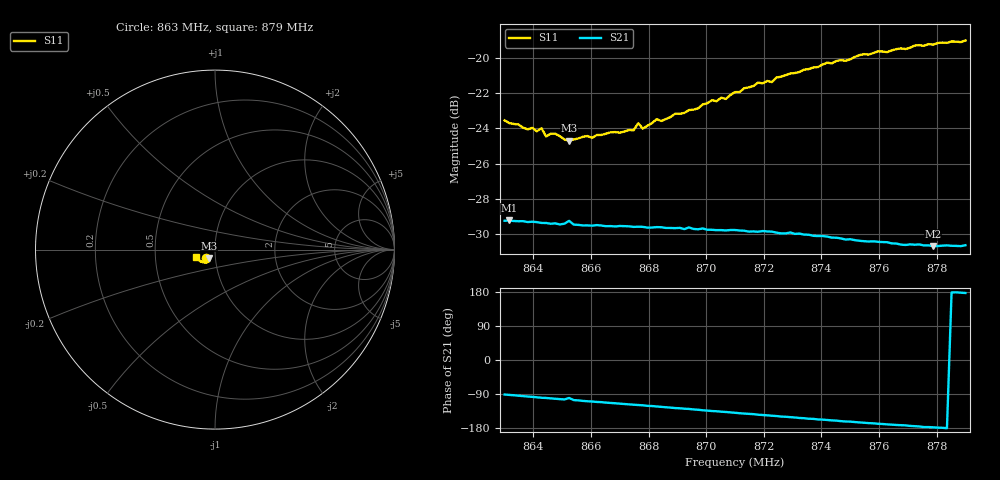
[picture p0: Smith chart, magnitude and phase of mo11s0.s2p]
# HZ S RI R 50
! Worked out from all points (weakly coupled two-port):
!   101 points, 863 MHz to 879 MHz, reference 50 ohm
!   highest |S21| = -29.24 dB at 863.16 MHz (marker M1); lowest = -30.7 dB at 877.88 MHz (marker M2)
!   lowest |S11| = -24.7 dB at 865.24 MHz (marker M3), VSWR 1.12, Z = 46.5 - j4.4 ohm
!   |S11| at or under -10 dB: start of sweep to end of sweep
!   S12 and S22 are empty: the file has one direction only
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8.63e8  -0.0483 -0.0457  -0.000669 -0.0345  0 0  0 0
8.6316e8  -0.0466 -0.0458  -0.00127 -0.0345  0 0  0 0
8.6412e8  -0.0416 -0.0459  -0.00497 -0.0338  0 0  0 0
8.6428e8  -0.0411 -0.048  -0.0057 -0.0335  0 0  0 0
8.6444e8  -0.04 -0.0445  -0.00599 -0.0334  0 0  0 0
8.6476e8  -0.0395 -0.0464  -0.0072 -0.0331  0 0  0 0
8.6524e8  -0.0341 -0.0472  -0.00611 -0.0339  0 0  0 0
8.6572e8  -0.0352 -0.0483  -0.0103 -0.0318  0 0  0 0
8.6748e8  -0.0311 -0.054  -0.0155 -0.0292  0 0  0 0
8.6764e8  -0.0332 -0.0562  -0.016 -0.0291  0 0  0 0
8.678e8  -0.0329 -0.0537  -0.0164 -0.0288  0 0  0 0
8.6828e8  -0.0327 -0.0585  -0.0178 -0.0278  0 0  0 0
8.6844e8  -0.0328 -0.0575  -0.0183 -0.0275  0 0  0 0
8.6892e8  -0.033 -0.0611  -0.0197 -0.0263  0 0  0 0
8.6972e8  -0.0345 -0.0632  -0.0215 -0.0245  0 0  0 0
8.702e8  -0.0383 -0.0655  -0.0229 -0.0231  0 0  0 0
8.7068e8  -0.0386 -0.066  -0.0237 -0.022  0 0  0 0
8.71e8  -0.0424 -0.0678  -0.0246 -0.0212  0 0  0 0
8.7372e8  -0.0608 -0.0717  -0.0284 -0.013  0 0  0 0
8.7644e8  -0.0857 -0.0608  -0.0293 -0.00487  0 0  0 0
8.7788e8  -0.0971 -0.0498  -0.0292 -0.00119  0 0  0 0
8.79e8  -0.1048 -0.0401  -0.0293 0.00164  0 0  0 0
